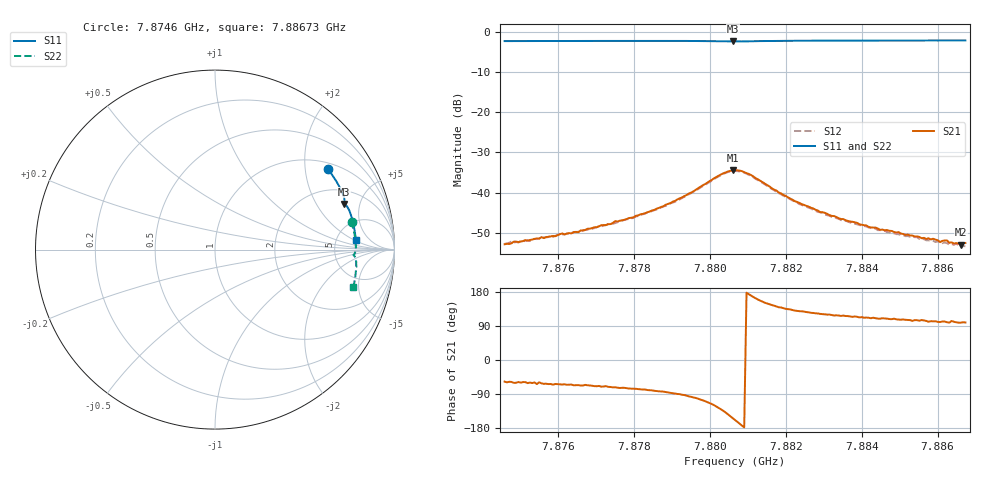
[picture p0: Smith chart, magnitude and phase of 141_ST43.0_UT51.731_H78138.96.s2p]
#  HZ  S  DB  R  50.00
! Rohde & Schwarz Vector Network Analyzer
! Rohde-Schwarz,ZNB20-2Port,1311601062101988,3.16
! Created: UTC 1/12/2023, 6:39:46 PM
! freq[Hz]  db:S11  ang:S11  db:S21  ang:S21  db:S12  ang:S12  db:S22  ang:S22
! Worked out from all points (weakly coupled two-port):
!   201 points, 7.8746 GHz to 7.88673 GHz, reference 50 ohm
!   highest |S21| = -34.46 dB at 7.88061 GHz (marker M1); lowest = -53.0 dB at 7.88661 GHz (marker M2)
!   lowest |S11| = -2.3 dB at 7.88061 GHz (marker M3), VSWR 7.45, Z = 145 + j178 ohm
!   |S11| at or under -10 dB: nowhere
!   |S22| runs from -2.3 to -2.0 dB; largest |S21 - S12| = 0.0013
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7.874602e9  -2.25 35.5  -52.90 -57.0  -52.75 -60.5  -2.20 11.5
7.875269e9  -2.23 33.7  -51.83 -59.6  -52.09 -61.1  -2.17 9.8
7.875329e9  -2.23 33.5  -51.72 -60.8  -51.58 -63.9  -2.17 9.7
7.876664e9  -2.21 29.9  -49.45 -67.3  -49.52 -69.5  -2.14 6.6
7.877998e9  -2.20 26.2  -46.19 -75.6  -46.26 -79.8  -2.11 3.5
7.878665e9  -2.19 24.4  -43.83 -82.6  -43.98 -86.0  -2.11 1.9
7.879211e9  -2.20 22.8  -41.43 -90.0  -41.71 -94.5  -2.11 0.5
7.880364e9  -2.32 19.8  -35.19 -134.4  -35.35 -137.7  -2.22 -2.1
7.880606e9  -2.34 19.5  -34.46 -153.4  -34.67 -156.6  -2.25 -2.2
7.880667e9  -2.34 19.5  -34.49 -158.3  -34.62 -161.5  -2.26 -2.2
7.881091e9  -2.29 19.0  -35.65 169.7  -35.89 166.6  -2.19 -2.5
7.882244e9  -2.16 15.8  -42.17 130.3  -42.22 127.1  -2.05 -5.0
7.882729e9  -2.14 14.5  -43.99 124.2  -44.37 119.9  -2.02 -6.2
7.883457e9  -2.13 12.5  -46.61 116.2  -46.88 114.0  -2.01 -7.8
7.884731e9  -2.11 9.2  -49.54 108.1  -49.90 105.6  -1.98 -10.7
7.885883e9  -2.10 6.2  -51.51 102.0  -52.03 100.6  -1.96 -13.2
7.886065e9  -2.09 5.7  -52.35 100.2  -52.26 98.8  -1.96 -13.7
7.886247e9  -2.09 5.2  -51.92 99.8  -52.64 97.9  -1.96 -14.0
7.886308e9  -2.09 5.0  -52.54 98.4  -52.96 97.9  -1.96 -14.2
7.88649e9  -2.09 4.6  -52.60 99.5  -52.70 97.1  -1.96 -14.5
7.886611e9  -2.09 4.2  -52.97 98.3  -53.23 97.2  -1.96 -14.8
7.886732e9  -2.09 3.9  -52.57 99.0  -53.37 95.3  -1.96 -15.1
